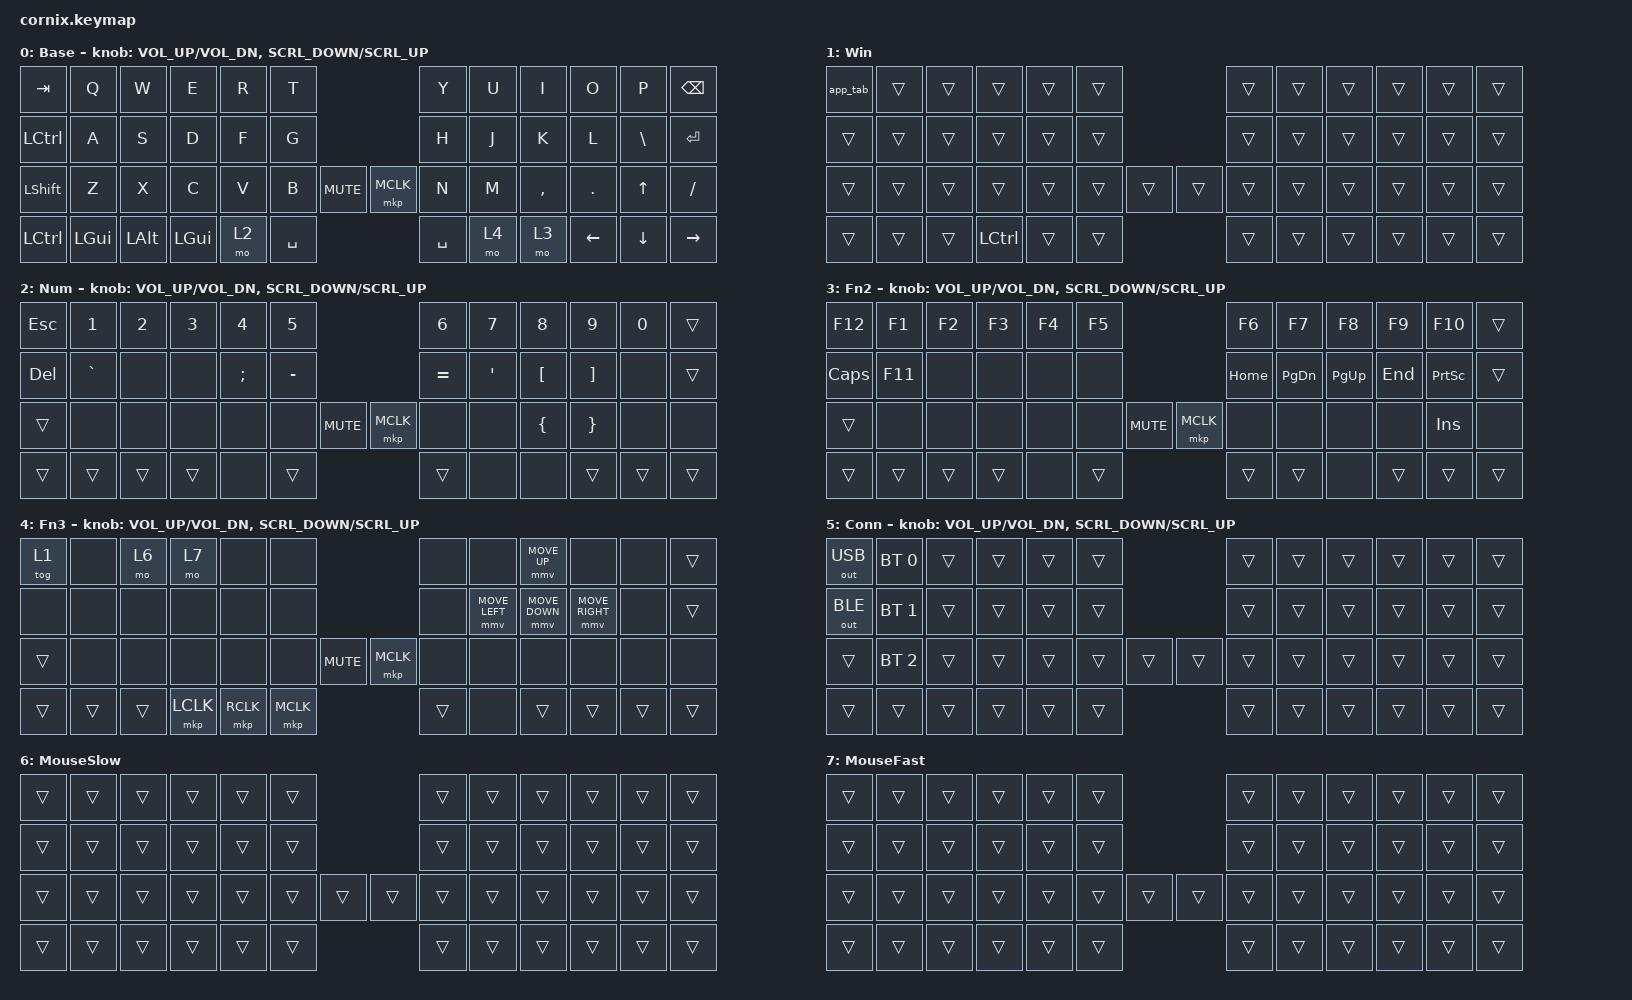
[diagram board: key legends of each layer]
/*
 * Cornix keymap (ZMK): a Mac-oriented Base layer, a Windows/Linux override
 * layer that OS detection switches on automatically, a number layer, three
 * function layers and the two pointer-speed layers the mouse keys use.
 *
 * THIS FILE IS THE SOURCE OF TRUTH for the user keymap.  Edit it with
 * scripts/remap.py, which rewrites one layer's `bindings` block and the
 * ASCII grid comment above it by ZMK key position (0-49), e.g.
 *
 *     scripts/remap.py show                       # the numbered grid
 *     scripts/remap.py set --layer Fn3 8 '&mmv MOVE_UP'
 *
 * `scripts/remap.py --help` lists every command.  The original import from
 * config/vial/cornix-default-keymap.vil was a one-time conversion with
 * scripts/vial2zmk.py; the file is not regenerated from the .vil any more.
 * config/keymap-notes.md has that command, the position map and the running
 * log of keymap changes.
 *
 * Layers: 0 Base, 1 Win, 2 Num, 3 Fn2, 4 Fn3, 5 Conn, 6 MouseSlow,
 * 7 MouseFast.  The three left thumb keys are 41 (Cmd/Ctrl rest key), 42
 * (`&mo 2`, Num) and 43 (`&kp SPACE`); Fn3 is on the right thumb, position
 * 45 (`&mo 4`), and Fn2 next to it on 46 (`&mo 3`), so 43 and 44 are both
 * Space.  Layer 5 (Conn) has no key of its own: the `conditional_layers`
 * node below switches it on while *both* right thumb Fn keys, 45 and 46, are
 * held (if-layers 3 and 4 -> then-layer 5), and it carries the connection
 * keys (2026-09-22).  Layer 6 was the old `Mouse` layer (reached with
 * `&lt 6 RIGHT` on position 49); it was renamed and emptied when the mouse
 * keys moved onto Fn3, and position 49 is plain `&kp RIGHT` again, so the
 * keymap has no hold-tap and no `&lt` override any more.
 *
 *  - Win (layer 1) is the Windows/Linux overlay: every key is `&trans` and
 *    falls through to Base except the three that must differ.  The physical
 *    Ctrl key (position 38) stays LCTRL on both operating systems, so
 *    Ctrl+Space toggles the IME on macOS and on Windows alike.  The shortcut
 *    modifier is what moves: position 39 and the thumb rest key 41 send Cmd
 *    (LGUI) on Base and LCTRL here, so copy/paste stay on the same finger.
 *    Position 40 is LALT on both.  The third is position 0 (Tab), which is
 *    `&app_tab` here, the one hand-written behavior node in this keymap (see
 *    the `behaviors` node below): the chord 41 + Tab is app switching on both
 *    operating systems - Cmd+Tab on macOS, where 41 is LGUI and position 0 is
 *    a plain `&kp TAB`, and Alt+Tab on Windows, where 41 is Ctrl.  `app_tab`
 *    is this module's `zmk,behavior-cornix-app-switch`
 *    (src/behavior_app_switch.c): it *holds* Alt for as long as 41 is held and
 *    taps Tab once per press, so the Windows switcher stays open and steps
 *    through the window list, exactly like Cmd+Tab does.  It replaced a
 *    mod-morph to `&kp LA(TAB)`, whose Alt was an implicit modifier and was
 *    therefore released together with every Tab, closing the switcher on each
 *    tap.  The Win layer deliberately has no `sensor-bindings`: ZMK falls
 *    through to the layer below for a sensor a layer does not bind, so the
 *    encoders keep working.
 *  - Conn (layer 5) is where the connection switching lives, and it is only
 *    reachable through the `conditional_layers` node: hold both right thumb
 *    Fn keys, 45 (Fn3) and 46 (Fn2), and the leftmost column selects the
 *    connection - 0 = `&out OUT_USB`, 12 = `&out OUT_BLE`, 24 = `&trans` (BT_CLR removed 2026-09-24)
 *    (top = USB, second = Bluetooth, third = clear the bond) - while the
 *    column next to it, 1/13/25, is `&bt BT_SEL 0/1/2` on the same rows.
 *    Every other key on Conn is `&trans`, so Space, Enter, Backspace, the
 *    arrows, the modifiers and the Fn3 mouse keys keep working while both
 *    thumbs are held.  The two-key chord is deliberate: Fn3 alone is pressed
 *    all the time (mouse), so a single-key chord on it misfired, and it was
 *    impossible to remember where USB/BLE were on Fn2/Fn3.  For the chord to
 *    work in either order, position 46 on Fn3 and position 45 on Fn2 are
 *    `&trans` (they were `&none`), so the second thumb key falls through to
 *    its `&mo` on Base instead of hitting a dead key on the layer already up.
 *  - Fn3 (layer 4) keeps `&tog 1` on its left column (force or clear the Win
 *    layer when detection guesses wrong: hold the right thumb Fn3 key,
 *    position 45, and tap the TAB position).  Positions 5 and 6 (T and Y)
 *    used to be `&bootloader`, one per half; they are `&none` again and the
 *    halves are put into their UF2 bootloader with a reset double-tap
 *    (scripts/FLASHING.md).
 *    Fn3 also carries the whole mouse: hold 45 and the pointer moves on
 *    I/J/K/L (positions 8/19/20/21, WASD-style), the three left thumb keys
 *    click (41 = `&mkp LCLK`, 42 = `&mkp RCLK`, 43 = `&mkp MCLK`; 44 is
 *    `&none`) and the two keys next to Q change the pointer speed while held
 *    - 2 (W) is `&mo 6` (MouseSlow) and 3 (E) is `&mo 7` (MouseFast), so both
 *    the clicks and the speed keys are reachable with the left hand while the
 *    right hand stays on I/J/K/L.  It needs CONFIG_ZMK_POINTING=y (already
 *    set in config/cornix_left.conf).
 *  - MouseSlow (layer 6) and MouseFast (layer 7) are entirely `&trans`: they
 *    hold no bindings at all and exist only as *flags* for the input
 *    processors on the `&mmv_input_listener` overlay below.  Because they are
 *    transparent, the `&mmv` bindings on Fn3 keep resolving while one of them
 *    is on top of Fn3.
 *
 * The `&mmv_input_listener` overlay below is the one thing scripts/remap.py
 * does not write.  `&mmv` (zmk/app/dts/behaviors/mouse_move.dtsi) feeds the
 * `mmv_input_listener` input listener, and an input listener can carry child
 * nodes that override its input processors while a given layer is active.
 * zmk/app/src/pointing/input_listener.c, filter_with_input_config(), picks
 * an override purely by `zmk_keymap_layer_active(layer)` - it never looks at
 * which layer the `&mmv` binding came from - so scaling still applies when
 * MouseSlow/MouseFast sit on top of Fn3, which is where the `&mmv` keys are.
 * `&zip_xy_scaler <multiplier> <divisor>` multiplies then divides the X/Y
 * values (zmk/docs/docs/keymaps/input-processors/scaler.md), so 1/2 is half
 * the speed and 2/1 is twice it.
 *
 * OS detection (config/cornix_left.conf, zmk-feature-os-detection) activates
 * layer 1 when the host is detected as Windows or Linux and deactivates it
 * for macOS/iOS.  `&tog 1` on Fn3 is the manual fallback; note that the next
 * `zmk_os_changed` event re-asserts whatever detection believes.
 *
 * Carried over from the Vial import:
 *
 *  - USER00 / USER01 / USER02 were RMK custom keycodes and the .vil file does
 *    not say what they do.  They sat on the left outer column of Fn2 and Fn3
 *    and became the `&bt` / `&out` bindings there; since 2026-09-22 those
 *    all live on the Conn layer instead.
 *  - Vial stores encoder actions as [counter-clockwise, clockwise] while ZMK's
 *    inc_dec_* behaviours take the clockwise action first, so each pair is
 *    swapped here.  If a knob feels reversed on hardware, swap the two
 *    arguments of that sensor-binding.
 *  - Vial's KC_NO is emitted as `&none` (the key does nothing and does *not*
 *    fall through to a lower layer), exactly like the stock firmware.
 *  - Layers 5-9 of the .vil file were empty apart from the two inner keys and
 *    were not converted.
 *
 * The previous personal home-row-mods keymap now lives unchanged in
 * config/keymaps/cornix-homerow-mods.keymap.  ZMK only picks up
 * config/<board>.keymap, so that file is kept for reference and is not built;
 * swap the two files to go back to it.
 */

#include <behaviors.dtsi>
#include <dt-bindings/zmk/keys.h>
#include <dt-bindings/zmk/bt.h>
#include <dt-bindings/zmk/outputs.h>

/*
 * Right-encoder scroll amount, in HID wheel units per detent (2026-09-19).
 *
 * `&msc` (zmk/app/dts/behaviors/mouse_scroll.dtsi:12, a
 * `zmk,behavior-input-two-axis`) is a *speed*, not a one-shot tick.  Pressing
 * it sets `state.y.speed` to the binding parameter; a tick work then runs
 * every `trigger-period-ms` - default 16
 * (zmk/app/dts/bindings/behaviors/zmk,behavior-input-two-axis.yaml:17-20) -
 * and each tick adds `speed * trigger_period_ms / 1000` to a fractional
 * accumulator, of which only the integer part is reported and the rest is
 * carried over (zmk/app/src/behaviors/behavior_input_two_axis.c:131-155,
 * :190-202).  `&msc` sets `acceleration-exponent = <0>`, so speed() returns
 * the full speed on the very first tick and its `time-to-max-speed-ms = <300>`
 * never applies (behavior_input_two_axis.c:111-129) - unlike `&mmv`, which
 * really does ramp up and is why the sim cases hold the `&mmv` keys for a
 * fixed time.
 *
 * One tick therefore emits `SCRL_VAL * 16 / 1000` units.  For 3 units on the
 * first tick: 3 * 1000 / 16 = 187.5 -> 188, and 188 * 16 / 1000 = 3.008 is
 * reported as 3 with 0.008 left in the remainder.  `tap-ms` on the
 * `inc_dec_msc` node below then only has to bracket that single tick.
 *
 * This define has to come before <dt-bindings/zmk/pointing.h>, which derives
 * SCRL_UP/SCRL_DOWN from it behind an `#ifndef`
 * (zmk/app/include/dt-bindings/zmk/pointing.h:30-32, :47-50).  Nothing else
 * in this keymap uses SCRL_*, and the pointer keys on Fn3 use MOVE_*, which
 * has its own constant (ZMK_POINTING_DEFAULT_MOVE_VAL), so the mouse layer is
 * untouched.  This is the one number to turn if the knob scrolls too much or
 * too little: it is linear, 63 per wheel unit per detent.
 *
 * Caveat: a wheel unit is a *notch*, not a line.  The host multiplies it by
 * its own lines-per-notch (3 in most browsers, and macOS adds its own
 * momentum), so 3 units is roughly 9 lines there.
 */
#define ZMK_POINTING_DEFAULT_SCRL_VAL 188

#include <dt-bindings/zmk/pointing.h>
#include <input/processors.dtsi>

/*
 * Pointer speed for the `&mmv` keys on Fn3 (this node and the comment above
 * it are hand-written; scripts/remap.py only ever rewrites the `keymap` node
 * below).  Hold Fn3 (45) + W (2) for half the speed, Fn3 + E (3) for twice
 * it; with neither held the base (empty) processor list applies and `&mmv`
 * moves at its own speed.
 *
 * 2026-09-19: the speed keys moved from U/O (7/9) to W/E (2/3) so that the
 * left hand drives them while the right hand stays on I/J/K/L, and the two
 * factors were softened from 1/3 and 3/1 to 1/2 and 2/1 - a third was too
 * coarse to aim with and three times overshot.
 *
 * The first matching child wins and the base processors are then skipped
 * (no `process-next;` here), and MouseSlow is declared first, so holding
 * both W and E gives the slow scaling rather than something undefined.
 */
&mmv_input_listener {
    slow {
        layers = <6>;                            /* MouseSlow */
        input-processors = <&zip_xy_scaler 1 2>;
    };

    fast {
        layers = <7>;                            /* MouseFast */
        input-processors = <&zip_xy_scaler 2 1>;
    };
};

/ {
    behaviors {
        /*
         * The app switcher.  The chord is "41 (the thumb rest key) + 0 (Tab)":
         * Cmd+Tab on macOS, where 41 is LGUI on the Base layer and plain
         * `&kp TAB` is all that is needed, and Alt+Tab on Windows, where the
         * Win layer maps 41 to LCTRL - which is what this behavior is for.
         *
         * It used to be a `zmk,behavior-mod-morph` to `&kp LA(TAB)`, and that
         * could not be made to work: LALT is an *implicit* modifier of that
         * keypress, and ZMK releases implicit modifiers together with the key
         * (zmk/app/src/hid_listener.c, zmk_hid_implicit_modifiers_release()),
         * so Alt went up with every Tab and the Windows switcher committed and
         * closed on each tap instead of staying open.
         *
         * `zmk,behavior-cornix-app-switch` (this module,
         * src/behavior_app_switch.c, CONFIG_CORNIX_APP_SWITCH) instead holds
         * Alt as a real modifier for as long as position 41 is held: the first
         * press masks the Ctrl out of the report, presses LALT and taps TAB,
         * every further press taps TAB again with LALT still down, and the
         * release of position 41 releases LALT - which is what makes Windows
         * commit the selection.  Exactly the shape of Cmd+Tab on macOS.
         * Pressed without Ctrl held it is a plain `&kp TAB`.
         *
         * This node is hand-written: scripts/remap.py rewrites `bindings`
         * blocks only and leaves `behaviors {}` alone.
         */
        app_tab: app_tab {
            compatible = "zmk,behavior-cornix-app-switch";
            #binding-cells = <0>;
            hold-mod = <LCTRL>;     /* what position 41 sends on the Win layer */
            switch-mod = <LALT>;    /* what the host should see held instead */
            tap = <TAB>;
            mod-position = <41>;    /* the left thumb rest key */
        };

        /*
         * ZMK ships `inc_dec_kp` only; the mouse-scroll equivalent is the
         * same sensor-rotate behaviour wired to `&msc`.
         *
         * One detent is one press/release pair pushed through the behaviour
         * queue, and `tap-ms` is the delay between the press and its release
         * (zmk/app/src/behaviors/behavior_sensor_rotate_common.c:98-101 ->
         * zmk/app/src/behavior_queue.c:53-55).  That queue is strictly serial
         * and time-ordered, so `tap-ms` is not just the tap length, it is the
         * *cost* of a detent: a three-detent flick takes 3 * tap-ms to drain
         * however fast the knob was turned.
         *
         * So the whole scroll has to be delivered by the first `&msc` tick,
         * 16 ms after the press (see the ZMK_POINTING_DEFAULT_SCRL_VAL
         * comment at the top of this file for that arithmetic), and `tap-ms`
         * only has to bracket that one tick: > 16 ms so the tick fires at
         * all, < 32 ms so a second tick does not add another 3 units.  24 ms
         * sits in the middle with 8 ms of slack either side.
         *
         * 2026-09-19: was `tap-ms = <150>` with the stock SCRL_VAL of 10,
         * i.e. 9 ticks * 10 * 16 / 1000 = 1.44 -> a single scroll unit per
         * detent, 150 ms each, and a fast flick queued up behind itself
         * (reported as "sluggish").  Now 3 units per detent every 24 ms:
         * ~19x the scroll rate and ~6x less latency.  Measured in
         * tests/sim/user-keymap/encoder, which flicks three detents 30 ms
         * apart each way.
         */
        inc_dec_msc: sensor_rotate_scroll {
            compatible = "zmk,behavior-sensor-rotate-var";
            #sensor-binding-cells = <2>;
            bindings = <&msc>, <&msc>;
            tap-ms = <24>;
        };
    };

    /*
     * Conn (layer 5) is a conditional layer: it is active exactly while
     * Fn2 (layer 3, held with 46) and Fn3 (layer 4, held with 45) are both
     * active, i.e. while both right thumb Fn keys are held.  Hand-written,
     * like `behaviors {}`; scripts/remap.py does not touch it, but its
     * `layer add --after` renumbering does not know about it either, so
     * check these three numbers after inserting a layer below 5.
     */
    conditional_layers {
        compatible = "zmk,conditional-layers";

        conn_layer {
            if-layers = <3 4>;      /* Fn2 + Fn3 */
            then-layer = <5>;       /* Conn */
        };
    };

    keymap {
        compatible = "zmk,keymap";

        layer_0 {
            display-name = "Base";

            // | TAB   | Q    | W    | E    | R     | T     |      |      | Y     | U     | I     | O    | P    | BSPC  |
            // | LCTRL | A    | S    | D    | F     | G     |      |      | H     | J     | K     | L    | BSLH | RET   |
            // | LSHFT | Z    | X    | C    | V     | B     | MUTE | BTN3 | N     | M     | COMMA | DOT  | UP   | FSLH  |
            // | LCTRL | LGUI | LALT | LGUI | MO(2) | SPACE |      |      | SPACE | MO(4) | MO(3) | LEFT | DOWN | RIGHT |

            bindings = <
&kp TAB       &kp Q         &kp W     &kp E      &kp R      &kp T                             &kp Y      &kp U           &kp I           &kp O            &kp P      &kp BSPC
&kp LCTRL     &kp A         &kp S     &kp D      &kp F      &kp G                             &kp H      &kp J           &kp K           &kp L            &kp BSLH   &kp RET
&kp LSHFT     &kp Z         &kp X     &kp C      &kp V      &kp B      &kp C_MUTE  &mkp MCLK  &kp N      &kp M           &kp COMMA       &kp DOT          &kp UP     &kp FSLH
&kp LCTRL     &kp LGUI      &kp LALT  &kp LGUI   &mo 2      &kp SPACE                         &kp SPACE  &mo 4           &mo 3           &kp LEFT         &kp DOWN   &kp RIGHT
            >;

            sensor-bindings = <&inc_dec_kp C_VOL_UP C_VOL_DN>, <&inc_dec_msc SCRL_DOWN SCRL_UP>;
        };

        layer_1 {
            display-name = "Win";

            // | APP_TAB |  |  |       |  |  |  |  |  |  |  |  |  |  |
            // |         |  |  |       |  |  |  |  |  |  |  |  |  |  |
            // |         |  |  |       |  |  |  |  |  |  |  |  |  |  |
            // |         |  |  | LCTRL |  |  |  |  |  |  |  |  |  |  |

            bindings = <
&app_tab      &trans        &trans    &trans     &trans     &trans                            &trans     &trans          &trans          &trans           &trans     &trans
&trans        &trans        &trans    &trans     &trans     &trans                            &trans     &trans          &trans          &trans           &trans     &trans
&trans        &trans        &trans    &trans     &trans     &trans     &trans      &trans     &trans     &trans          &trans          &trans           &trans     &trans
&trans        &trans        &trans    &kp LCTRL  &trans     &trans                            &trans     &trans          &trans          &trans           &trans     &trans
            >;
        };

        layer_2 {
            display-name = "Num";

            // | ESC | N1    | N2 | N3 | N4   | N5    |      |      | N6    | N7  | N8   | N9   | N0 |  |
            // | DEL | GRAVE |    |    | SEMI | MINUS |      |      | EQUAL | SQT | LBKT | RBKT |    |  |
            // |     |       |    |    |      |       | MUTE | BTN3 |       |     | LBRC | RBRC |    |  |
            // |     |       |    |    |      |       |      |      |       |     |      |      |    |  |

            bindings = <
&kp ESC       &kp N1        &kp N2    &kp N3     &kp N4     &kp N5                            &kp N6     &kp N7          &kp N8          &kp N9           &kp N0     &trans
&kp DEL       &kp GRAVE     &none     &none      &kp SEMI   &kp MINUS                         &kp EQUAL  &kp SQT         &kp LBKT        &kp RBKT         &none      &trans
&trans        &none         &none     &none      &none      &none      &kp C_MUTE  &mkp MCLK  &none      &none           &kp LBRC        &kp RBRC         &none      &none
&trans        &trans        &trans    &trans     &none      &trans                            &trans     &none           &none           &trans           &trans     &trans
            >;

            sensor-bindings = <&inc_dec_kp C_VOL_UP C_VOL_DN>, <&inc_dec_msc SCRL_DOWN SCRL_UP>;
        };

        layer_3 {
            display-name = "Fn2";

            // | F12  | F1  | F2 | F3 | F4 | F5 |      |      | F6   | F7    | F8    | F9  | F10   |  |
            // | CAPS | F11 |    |    |    |    |      |      | HOME | PG_DN | PG_UP | END | PSCRN |  |
            // |      |     |    |    |    |    | MUTE | BTN3 |      |       |       |     | INS   |  |
            // |      |     |    |    |    |    |      |      |      |       |       |     |       |  |

            bindings = <
&kp F12       &kp F1        &kp F2    &kp F3     &kp F4     &kp F5                            &kp F6     &kp F7          &kp F8          &kp F9           &kp F10    &trans
&kp CAPS      &kp F11       &none     &none      &none      &none                             &kp HOME   &kp PG_DN       &kp PG_UP       &kp END          &kp PSCRN  &trans
&trans        &none         &none     &none      &none      &none      &kp C_MUTE  &mkp MCLK  &none      &none           &none           &none            &kp INS    &none
&trans        &trans        &trans    &trans     &none      &trans                            &trans     &trans          &none           &trans           &trans     &trans
            >;

            sensor-bindings = <&inc_dec_kp C_VOL_UP C_VOL_DN>, <&inc_dec_msc SCRL_DOWN SCRL_UP>;
        };

        layer_4 {
            display-name = "Fn3";

            // | TG(1) |  | MO(6) | MO(7) |      |      |      |      |  |           | MOVE_UP   |            |  |  |
            // |       |  |       |       |      |      |      |      |  | MOVE_LEFT | MOVE_DOWN | MOVE_RIGHT |  |  |
            // |       |  |       |       |      |      | MUTE | BTN3 |  |           |           |            |  |  |
            // |       |  |       | BTN1  | BTN2 | BTN3 |      |      |  |           |           |            |  |  |

            bindings = <
&tog 1        &none         &mo 6     &mo 7      &none      &none                             &none      &none           &mmv MOVE_UP    &none            &none      &trans
&none         &none         &none     &none      &none      &none                             &none      &mmv MOVE_LEFT  &mmv MOVE_DOWN  &mmv MOVE_RIGHT  &none      &trans
&trans        &none         &none     &none      &none      &none      &kp C_MUTE  &mkp MCLK  &none      &none           &none           &none            &none      &none
&trans        &trans        &trans    &mkp LCLK  &mkp RCLK  &mkp MCLK                         &trans     &none           &trans          &trans           &trans     &trans
            >;

            sensor-bindings = <&inc_dec_kp C_VOL_UP C_VOL_DN>, <&inc_dec_msc SCRL_DOWN SCRL_UP>;
        };

        layer_5 {
            display-name = "Conn";

            // | OUTUSB | BTSEL0 |  |  |  |  |  |  |  |  |  |  |  |  |
            // | OUTBLE | BTSEL1 |  |  |  |  |  |  |  |  |  |  |  |  |
            // |        | BTSEL2 |  |  |  |  |  |  |  |  |  |  |  |  |
            // |        |        |  |  |  |  |  |  |  |  |  |  |  |  |

            bindings = <
&out OUT_USB  &bt BT_SEL 0  &trans    &trans     &trans     &trans                            &trans     &trans          &trans          &trans           &trans     &trans
&out OUT_BLE  &bt BT_SEL 1  &trans    &trans     &trans     &trans                            &trans     &trans          &trans          &trans           &trans     &trans
&trans        &bt BT_SEL 2  &trans    &trans     &trans     &trans     &trans      &trans     &trans     &trans          &trans          &trans           &trans     &trans
&trans        &trans        &trans    &trans     &trans     &trans                            &trans     &trans          &trans          &trans           &trans     &trans
            >;

            sensor-bindings = <&inc_dec_kp C_VOL_UP C_VOL_DN>, <&inc_dec_msc SCRL_DOWN SCRL_UP>;
        };

        layer_6 {
            display-name = "MouseSlow";

            // |  |  |  |  |  |  |  |  |  |  |  |  |  |  |
            // |  |  |  |  |  |  |  |  |  |  |  |  |  |  |
            // |  |  |  |  |  |  |  |  |  |  |  |  |  |  |
            // |  |  |  |  |  |  |  |  |  |  |  |  |  |  |

            bindings = <
&trans        &trans        &trans    &trans     &trans     &trans                            &trans     &trans          &trans          &trans           &trans     &trans
&trans        &trans        &trans    &trans     &trans     &trans                            &trans     &trans          &trans          &trans           &trans     &trans
&trans        &trans        &trans    &trans     &trans     &trans     &trans      &trans     &trans     &trans          &trans          &trans           &trans     &trans
&trans        &trans        &trans    &trans     &trans     &trans                            &trans     &trans          &trans          &trans           &trans     &trans
            >;
        };

        layer_7 {
            display-name = "MouseFast";

            // |  |  |  |  |  |  |  |  |  |  |  |  |  |  |
            // |  |  |  |  |  |  |  |  |  |  |  |  |  |  |
            // |  |  |  |  |  |  |  |  |  |  |  |  |  |  |
            // |  |  |  |  |  |  |  |  |  |  |  |  |  |  |

            bindings = <
&trans        &trans        &trans    &trans     &trans     &trans                            &trans     &trans          &trans          &trans           &trans     &trans
&trans        &trans        &trans    &trans     &trans     &trans                            &trans     &trans          &trans          &trans           &trans     &trans
&trans        &trans        &trans    &trans     &trans     &trans     &trans      &trans     &trans     &trans          &trans          &trans           &trans     &trans
&trans        &trans        &trans    &trans     &trans     &trans                            &trans     &trans          &trans          &trans           &trans     &trans
            >;
        };
    };
};
